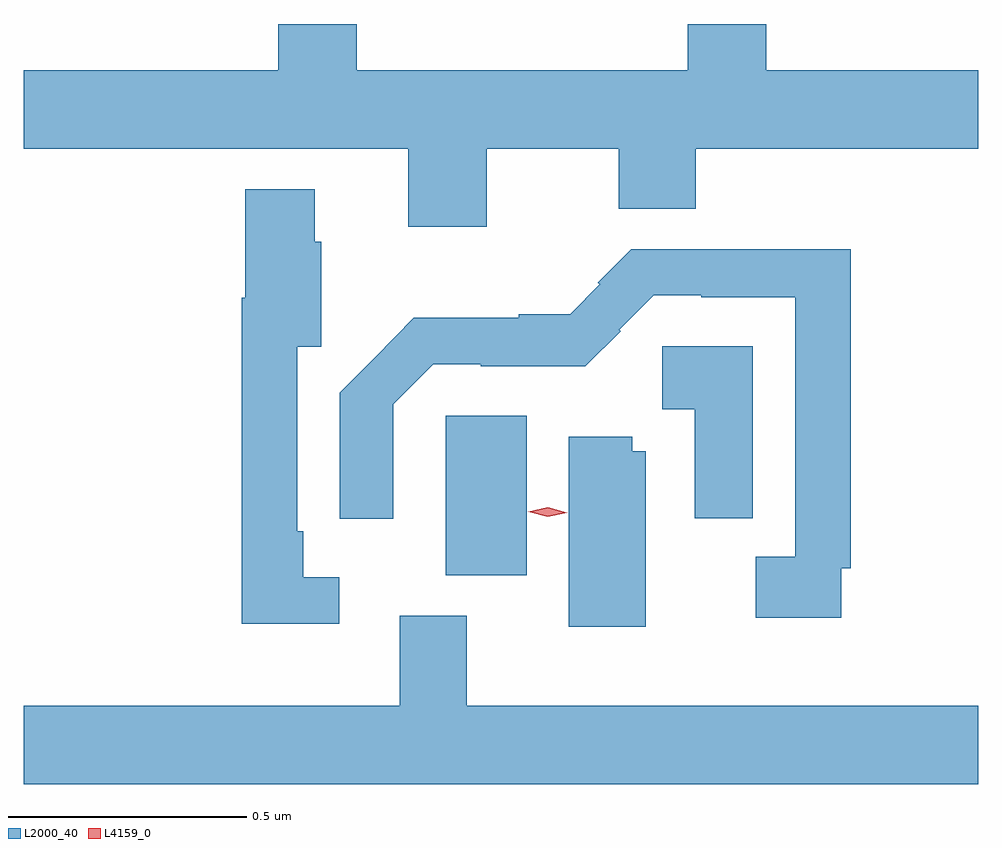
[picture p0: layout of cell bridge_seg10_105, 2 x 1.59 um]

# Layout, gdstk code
import gdstk
lib = gdstk.Library(unit=1e-6, precision=1e-09)
def R(c, l, rs):  # rectangles x0, y0, x1, y1
    for r in rs: c.add(gdstk.rectangle(r[:2], r[2:], *l))
def P(c, l, *ps):  # polygons
    for p in ps: c.add(gdstk.Polygon(p, *l))
L2000_40 = (2000, 40)
L4159_0 = (4159, 0)

bridge_seg10_105 = lib.new_cell('bridge_seg10_105')
R(bridge_seg10_105, L2000_40, [(483.23,1262.126,483.4,1262.46)])
P(bridge_seg10_105, L2000_40, [(483.316,1263.02),(483.593,1263.02),(483.593,1262.894),(483.754,1262.894),(483.754,1263.02),(484.346,1263.02),(484.346,1263.184),(483.902,1263.184),(483.902,1263.281),(483.737,1263.281),(483.737,1263.184),(483.044,1263.184),(483.044,1263.28),(483.031,1263.28),(483.031,1263.281),(482.891,1263.281),(482.891,1263.28),(482.879,1263.28),(482.879,1263.184),(482.346,1263.184),(482.346,1263.02),(483.152,1263.02),(483.152,1262.856),(483.316,1262.856)],
  [(483.007,1262.121),(482.931,1262.121),(482.931,1262.218),(482.919,1262.218),(482.919,1262.604),(482.969,1262.604),(482.969,1262.825),(482.956,1262.825),(482.956,1262.935),(482.81,1262.935),(482.81,1262.707),(482.803,1262.707),(482.803,1262.024),(483.007,1262.024)],
  [(484.059,1262.14),(484.079,1262.14),(484.079,1262.809),(483.619,1262.809),(483.549,1262.739),(483.553,1262.735),(483.491,1262.673),(483.383,1262.673),(483.383,1262.665),(483.163,1262.665),(483.082,1262.583),(483.082,1262.582),(483.008,1262.508),(483.008,1262.244),(483.12,1262.244),(483.12,1262.484),(483.204,1262.568),(483.304,1262.568),(483.304,1262.564),(483.523,1262.564),(483.597,1262.637),(483.594,1262.64),(483.666,1262.712),(483.766,1262.712),(483.766,1262.708),(483.963,1262.708),(483.963,1262.164),(483.88,1262.164),(483.88,1262.036),(484.059,1262.036)],
  [(483.874,1262.606),(483.684,1262.606),(483.684,1262.474),(483.752,1262.474),(483.752,1262.245),(483.874,1262.245)],
  [(483.649,1262.385),(483.621,1262.385),(483.621,1262.416),(483.488,1262.416),(483.488,1262.018),(483.649,1262.018)],
  [(484.346,1261.852),(483.274,1261.852),(483.274,1262.041),(483.134,1262.041),(483.134,1261.852),(482.346,1261.852),(482.346,1261.688),(484.346,1261.688)])
P(bridge_seg10_105, L4159_0, [(483.444,1262.248),(483.403,1262.259),(483.403,1262.259),(483.403,1262.259),(483.444,1262.268),(483.485,1262.257),(483.485,1262.257),(483.485,1262.257)])

lib.write_gds('bridge_seg10_105.gds')
